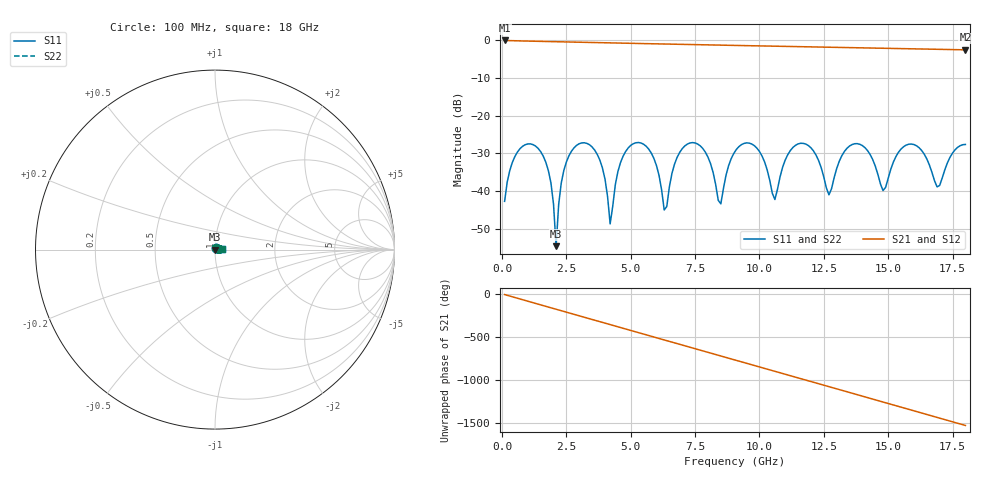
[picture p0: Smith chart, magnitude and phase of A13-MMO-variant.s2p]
! yapnr rf coupon A: A13 M-MO (variant, family M-MO)
! stackup JLC04161H-7628, nominal parameters; reference planes 10 mm from each end; 50 ohm (renormalized from the line's Zc)
! model: 2D quasi-static RLGC (Djordjevic-Sarkar, Huray roughness, Wheeler loss); generated by python -m yapnr.rf.coupons expected
# GHz S DB R 50
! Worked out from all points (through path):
!   180 points, 100 MHz to 18 GHz, reference 50 ohm
!   highest |S21| = -0.04 dB at 100 MHz (marker M1); lowest = -2.5 dB at 18 GHz (marker M2)
!   group delay of S21, straight-line fit = 236 ps
!   lowest |S11| = -54.6 dB at 2.1 GHz (marker M3), VSWR 1.00, Z = 50.2 + j0.00144 ohm
!   |S11| at or under -10 dB: start of sweep to end of sweep
!   |S22| runs from -54.6 to -27.1 dB; largest |S21 - S12| = 0
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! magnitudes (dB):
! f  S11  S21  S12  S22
! 100 MHz  -42.7  0.0  0.0  -42.7
! 1.3 GHz  -28.0  -0.3  -0.3  -28.0
! 1.9 GHz  -37.8  -0.3  -0.3  -37.8
! 2.1 GHz  -54.6  -0.4  -0.4  -54.6
! 2.4 GHz  -34.5  -0.4  -0.4  -34.5
! 3.1 GHz  -27.2  -0.5  -0.5  -27.2
! 3.8 GHz  -31.8  -0.6  -0.6  -31.8
! 4.2 GHz  -48.7  -0.7  -0.7  -48.7
! 5 GHz  -27.9  -0.8  -0.8  -27.9
! 6.1 GHz  -35.9  -0.9  -0.9  -35.9
! 6.3 GHz  -45.0  -1.0  -1.0  -45.0
! 7.6 GHz  -27.5  -1.2  -1.2  -27.5
! 8.5 GHz  -43.4  -1.3  -1.3  -43.4
! 9.1 GHz  -29.0  -1.4  -1.4  -29.0
! 10.6 GHz  -42.2  -1.6  -1.6  -42.2
! 12.1 GHz  -29.4  -1.8  -1.8  -29.4
! 12.7 GHz  -41.0  -1.8  -1.8  -41.0
! 13.6 GHz  -27.6  -2.0  -2.0  -27.6
! 15.1 GHz  -34.2  -2.1  -2.1  -34.2
! 16 GHz  -27.6  -2.3  -2.3  -27.6
! 16.9 GHz  -38.9  -2.4  -2.4  -38.9
! 18 GHz  -27.6  -2.5  -2.5  -27.6
